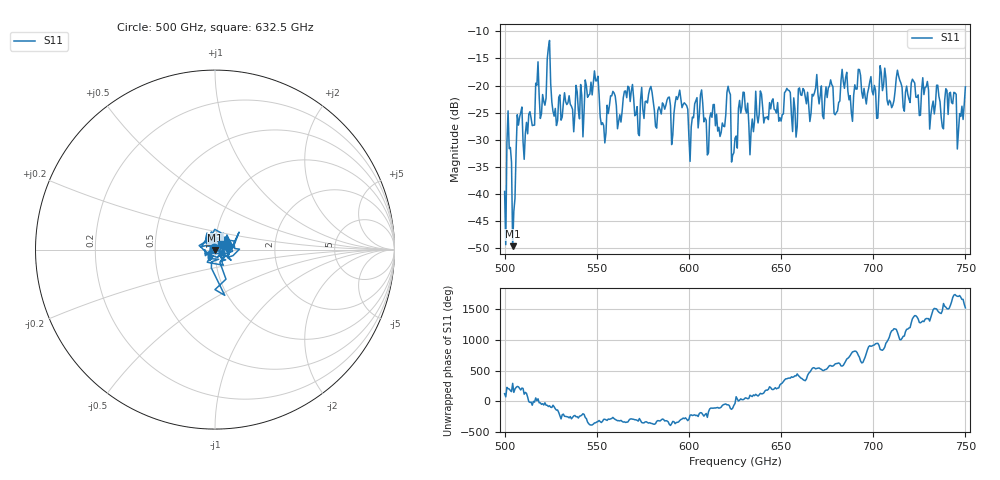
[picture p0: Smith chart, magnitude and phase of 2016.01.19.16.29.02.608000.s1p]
!Created with skrf (http://scikit-rf.org).
# GHz S RI R 50.0
!freq ReS11 ImS11
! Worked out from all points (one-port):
!   401 points, 500 GHz to 750 GHz, reference 50 ohm
!   lowest |S11| = -49.6 dB at 504.4 GHz (marker M1), VSWR 1.01, Z = 50.1 - j0.312 ohm
!   |S11| at or under -10 dB: start of sweep to end of sweep
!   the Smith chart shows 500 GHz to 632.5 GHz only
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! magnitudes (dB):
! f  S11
! 500 GHz  -39.5
! 502.5 GHz  -31.6
! 504.4 GHz  -49.6
! 508.1 GHz  -25.8
! 511.2 GHz  -28.9
! 523.8 GHz  -13.0
! 527.5 GHz  -24.2
! 531.2 GHz  -25.8
! 549.4 GHz  -19.1
! 553.8 GHz  -27.4
! 558.8 GHz  -21.1
! 562.5 GHz  -25.4
! 566.2 GHz  -22.2
! 571.9 GHz  -23.9
! 593.8 GHz  -22.6
! 609.4 GHz  -26.4
! 621.2 GHz  -20.1
! 625 GHz  -29.7
! 628.8 GHz  -23.9
! 633.8 GHz  -28.3
! 656.2 GHz  -28.5
! 676.9 GHz  -19.0
! 680 GHz  -25.0
! 684.4 GHz  -20.5
! 687.5 GHz  -21.9
! 718.8 GHz  -21.6
! 746.9 GHz  -25.2
! 750 GHz  -20.2
